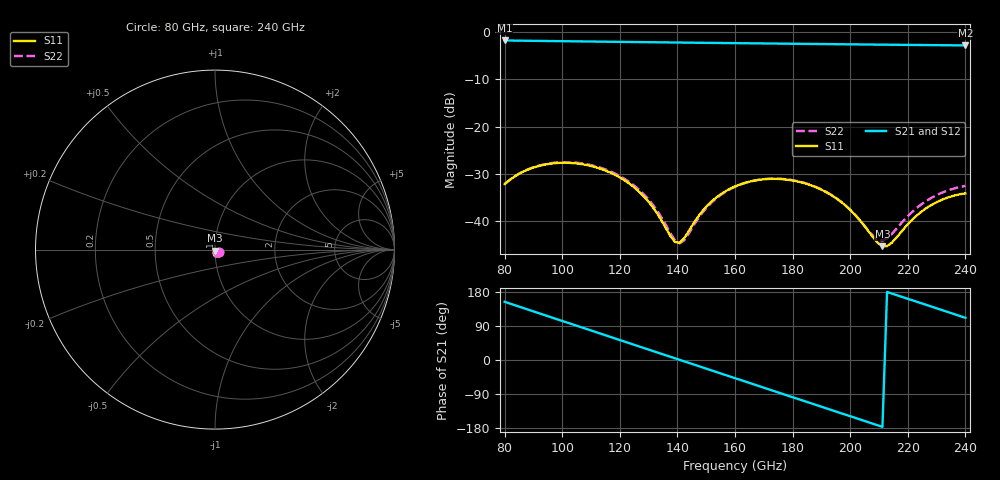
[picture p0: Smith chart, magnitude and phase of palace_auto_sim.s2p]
#  GHZ S DB R 50
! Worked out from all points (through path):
!   101 points, 80 GHz to 240 GHz, reference 50 ohm
!   highest |S21| = -1.81 dB at 80 GHz (marker M1); lowest = -2.9 dB at 240 GHz (marker M2)
!   group delay of S21, straight-line fit = 6.98 ps
!   lowest |S11| = -45.3 dB at 211.2 GHz (marker M3), VSWR 1.01, Z = 50.1 - j0.539 ohm
!   |S11| at or under -10 dB: start of sweep to end of sweep
!   |S22| runs from -44.7 to -27.5 dB; largest |S21 - S12| = 1.3e-15
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80  -32.16 -27.3  -1.81 153.5  -1.81 153.5  -32.17 -27.7
86.4  -29.55 -34.8  -1.86 137.4  -1.86 137.4  -29.51 -35.1
94.4  -27.99 -49.4  -1.92 117.2  -1.92 117.2  -27.90 -49.8
107.2  -27.98 -75.9  -2.02 85.0  -2.02 85.0  -27.81 -76.4
115.2  -29.34 -92.4  -2.07 64.8  -2.07 64.8  -29.11 -93.1
123.2  -32.00 -107.3  -2.13 44.6  -2.13 44.6  -31.68 -108.2
129.6  -35.60 -115.0  -2.18 28.5  -2.18 28.5  -35.14 -116.6
134.4  -39.75 -112.3  -2.21 16.4  -2.21 16.4  -39.14 -115.5
139.2  -44.41 -81.8  -2.24 4.4  -2.24 4.4  -44.08 -89.5
140.8  -44.56 -63.3  -2.25 0.3  -2.25 0.3  -44.67 -71.3
150.4  -36.69 -27.8  -2.32 -23.8  -2.32 -23.8  -36.96 -29.1
160  -32.66 -40.7  -2.38 -47.9  -2.38 -47.9  -32.72 -41.4
168  -31.29 -56.3  -2.43 -68.0  -2.43 -68.0  -31.27 -56.9
174.4  -31.05 -69.6  -2.47 -84.1  -2.47 -84.1  -31.00 -70.0
187.2  -32.61 -95.3  -2.55 -116.3  -2.55 -116.3  -32.53 -95.3
198.4  -36.70 -112.3  -2.62 -144.4  -2.62 -144.4  -36.68 -110.7
208  -43.45 -102.0  -2.68 -168.4  -2.68 -168.4  -43.14 -94.0
211.2  -45.27 -80.7  -2.70 -176.4  -2.70 -176.4  -44.08 -71.4
214.4  -44.59 -55.9  -2.72 175.5  -2.72 175.5  -42.74 -50.8
220.8  -40.14 -37.1  -2.75 159.5  -2.75 159.5  -38.45 -37.8
227.2  -36.94 -40.1  -2.79 143.5  -2.79 143.5  -35.42 -42.2
240  -34.10 -60.7  -2.86 111.4  -2.86 111.4  -32.54 -63.8
